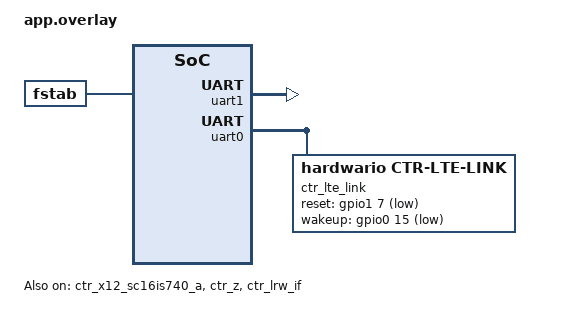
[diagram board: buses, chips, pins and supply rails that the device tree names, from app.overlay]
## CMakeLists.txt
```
#
# Copyright (c) 2026 HARDWARIO a.s.
#
# SPDX-License-Identifier: LicenseRef-HARDWARIO-5-Clause
#

cmake_minimum_required(VERSION 3.20.0)

set(ENV{FW_BUNDLE} "com.hardwario.chester.app.serial.rs232")
set(ENV{FW_NAME} "CHESTER Serial RS-232")

# Derive firmware version from git (see scripts/version.cmake); the fallback is
# used when git is unavailable at build time.
set(FW_VERSION_FALLBACK "v3.5.3")
include(${CMAKE_CURRENT_SOURCE_DIR}/../../scripts/version.cmake)

find_package(Zephyr REQUIRED HINTS $ENV{ZEPHYR_BASE})

project(chester-serial-rs232)

include(${ZEPHYR_CHESTER_MODULE_DIR}/scripts/app_codec.cmake)

target_sources(app PRIVATE src/app_cbor.c)
target_sources(app PRIVATE src/app_config.c)
target_sources(app PRIVATE src/app_data.c)
target_sources(app PRIVATE src/app_device.c)
target_sources(app PRIVATE src/app_driver.c)
target_sources(app PRIVATE src/app_driver_store.c)
target_sources(app PRIVATE src/app_handler.c)
target_sources(app PRIVATE src/app_init.c)
target_sources(app PRIVATE src/app_lrw.c)
target_sources(app PRIVATE src/app_modbus.c)
target_sources(app PRIVATE src/app_modbus_addr.c)
target_sources(app PRIVATE src/app_send.c)
target_sources(app PRIVATE src/app_send_split.c)
target_sources(app PRIVATE src/app_sensor.c)
target_sources(app PRIVATE src/app_serial.c)
target_sources(app PRIVATE src/app_shell.c)
target_sources(app PRIVATE src/app_work.c)
target_sources(app PRIVATE src/drivers/drv_cubic_6303.c)
target_sources(app PRIVATE src/drivers/drv_em1xx.c)
target_sources(app PRIVATE src/drivers/drv_em5xx.c)
target_sources(app PRIVATE src/drivers/drv_flowt_ft201.c)
target_sources(app PRIVATE src/drivers/drv_iem3000.c)
target_sources(app PRIVATE src/drivers/drv_microsens_180hs.c)
target_sources(app PRIVATE src/drivers/drv_microsens_180hs_proto.c)
target_sources(app PRIVATE src/drivers/drv_or_we_504.c)
target_sources(app PRIVATE src/drivers/drv_or_we_516.c)
target_sources(app PRIVATE src/drivers/drv_piketronic_rpp.c)
target_sources(app PRIVATE src/drivers/drv_piketronic_rppu.c)
target_sources(app PRIVATE src/drivers/drv_piketronic_rppu_proto.c)
target_sources(app PRIVATE src/drivers/drv_promag_mf7s.c)
target_sources(app PRIVATE src/drivers/drv_promag_mf7s_proto.c)
target_sources(app PRIVATE src/drivers/drv_sensecap.c)
target_sources(app PRIVATE src/drivers/drv_solax_g3.c)
target_sources(app PRIVATE src/main.c)

target_precompile_headers(app PRIVATE src/feature.h)

# ### Preserved code "cmake" (begin)
# Access to the Zephyr Modbus internal API (modbus_internal.h) for the RTU
# frame-timeout workaround in app_modbus.c (SC16IS7xx I2C-UART bridge RX batching)
# and for the frames of the OR-WE-504 address change.
target_include_directories(app PRIVATE $ENV{ZEPHYR_BASE}/subsys/modbus)
# ^^^ Preserved code "cmake" (end)
```

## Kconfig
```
#
# Copyright (c) 2026 HARDWARIO a.s.
#
# SPDX-License-Identifier: LicenseRef-HARDWARIO-5-Clause
#

menu "Application"

# HARDWARE-CHESTER-X12-A
config GPIO
	default y

config I2C
	default y

config PM_DEVICE
	default y

config SERIAL
	default y

config UART_SC16IS7XX
	default y
# HARDWARE-CHESTER-Z
config SHIELD_CTR_Z
	bool "Enable SHIELD_CTR_Z"
	default y

config CTR_Z
	default y

config I2C
	default y
# SUBSYSTEM-LRW
config SHIELD_CTR_LRW
	bool "Enable SHIELD_CTR_LRW"
	default y

config CTR_LRW
	default y
# SUBSYSTEM-LTE-V2
config SHIELD_CTR_LTE_V2
	bool "Enable SHIELD_CTR_LTE_V2"
	default y

config CTR_LTE_V2
	default y

# ### Preserved code "k_config" (begin)
# ^^^ Preserved code "k_config" (end)

rsource "Kconfig.variant"

endmenu

menu "Zephyr Kernel"
source "Kconfig.zephyr"
endmenu
```

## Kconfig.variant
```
#
# Copyright (c) 2026 HARDWARIO a.s.
#
# SPDX-License-Identifier: LicenseRef-HARDWARIO-5-Clause
#

config VARIANT_CHESTER_SERIAL_RS_232
    bool "Enable VARIANT_CHESTER_SERIAL_RS_232"
    default y
```

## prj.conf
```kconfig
#
# Copyright (c) 2026 HARDWARIO a.s.
#
# SPDX-License-Identifier: LicenseRef-HARDWARIO-5-Clause
#

# Configurations
# SUBSYSTEM-ACCEL
CONFIG_CTR_ACCEL=y
# SUBSYSTEM-BATT
CONFIG_CTR_BATT=y
# SUBSYSTEM-BLE
CONFIG_CTR_BLE=y
# SUBSYSTEM-BLE-TAG
CONFIG_CTR_BLE_TAG=y
# SUBSYSTEM-BUF
CONFIG_CTR_BUF=y
# SUBSYSTEM-BUTTON
CONFIG_CTR_BUTTON=y
# SUBSYSTEM-CLOUD
CONFIG_CTR_CLOUD=y
CONFIG_SETTINGS_SHELL=y
CONFIG_IMG_MANAGER=y
CONFIG_BOOTLOADER_MCUBOOT=y
CONFIG_SPI=y
CONFIG_DFU_TARGET=y
CONFIG_DFU_TARGET_STREAM=y
CONFIG_DFU_TARGET_MCUBOOT=y
CONFIG_DFU_TARGET_LOG_LEVEL_DBG=y
CONFIG_STREAM_FLASH_ERASE=y
CONFIG_STREAM_FLASH=y
CONFIG_FILE_SYSTEM=y
CONFIG_FILE_SYSTEM_LITTLEFS=y
CONFIG_FILE_SYSTEM_MKFS=y
CONFIG_FILE_SYSTEM_SHELL=y
CONFIG_SETTINGS_FILE=y
CONFIG_SETTINGS_FILE_PATH="/lfs1/settings/run"
# SUBSYSTEM-CONFIG
CONFIG_CTR_CONFIG=y
# SUBSYSTEM-DEFAULTS
CONFIG_CTR_DEFAULTS=y
# SUBSYSTEM-INFO
CONFIG_CTR_INFO=y
# SUBSYSTEM-LED
CONFIG_CTR_LED=y
# SUBSYSTEM-LOG
CONFIG_CTR_LOG=y
# SUBSYSTEM-LRW
CONFIG_CTR_LRW=y
# SUBSYSTEM-LTE-V2
CONFIG_CTR_LTE_V2=y
# SUBSYSTEM-POWER
CONFIG_CTR_POWER=y
# SUBSYSTEM-RTC
CONFIG_CTR_RTC=y
# SUBSYSTEM-SHELL
CONFIG_CTR_SHELL=y
# SUBSYSTEM-THERM
CONFIG_CTR_THERM=y
# SUBSYSTEM-WDOG
CONFIG_CTR_WDOG=y
# SUBSYSTEM-ZCBOR
CONFIG_ZCBOR=y
CONFIG_ZCBOR_STOP_ON_ERROR=y
# Extra configurations
CONFIG_ADC_NRFX_SAADC=n
CONFIG_ADC_SHELL=n
CONFIG_GPIO_SHELL=y
CONFIG_I2C_SHELL=y
CONFIG_ISR_TABLES_LOCAL_DECLARATION=y
CONFIG_LTO=y
CONFIG_MCUBOOT_SHELL=y
CONFIG_MODBUS=y
CONFIG_MODBUS_BUFFER_SIZE=256
CONFIG_UART_0_INTERRUPT_DRIVEN=n
CONFIG_UART_1_INTERRUPT_DRIVEN=n

# ### Preserved code "config" (begin)
CONFIG_BUILD_OUTPUT_META=y
CONFIG_BUILD_OUTPUT_META_STATE_PROPAGATE=y
# SUBSYSTEM-BLE-TAG
CONFIG_CTR_BLE_TAG=y
CONFIG_BT_FILTER_ACCEPT_LIST=y
CONFIG_BT_OBSERVER=y
CONFIG_CTR_CLOUD_SPOOL=y
# Needed for SC16IS7XX_DRV_CMD_SET_BREAK (park peer RX_in low; Piketronic RPP-U)
CONFIG_UART_DRV_CMD=y
# ^^^ Preserved code "config" (end)
```

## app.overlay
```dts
/*
 * Copyright (c) 2026 HARDWARIO a.s.
 *
 * SPDX-License-Identifier: LicenseRef-HARDWARIO-5-Clause
 */

/* HARDWARE-CHESTER-X12-A  */
&ctr_x12_sc16is740_a {
	status = "okay";
};
/* HARDWARE-CHESTER-Z  */
&ctr_z {
	status = "okay";
};
/* SUBSYSTEM-CLOUD  */
/ {
	fstab {
		compatible = "zephyr,fstab";
		lfs1: lfs1 {
			compatible = "zephyr,fstab,littlefs";
			mount-point = "/lfs1";
			partition = <&littlefs_storage>;
			automount;
			read-size = <16>;
			prog-size = <16>;
			cache-size = <64>;
			lookahead-size = <32>;
			block-cycles = <512>;
		};
	};
};
/* SUBSYSTEM-LRW   */
&ctr_lrw_if {
	status = "okay";
};

&uart1 {
	status = "okay";
};
/* SUBSYSTEM-LTE-V2  */
/ {
	chosen {
		ctr,lte_link = &ctr_lte_link;
	};
};

&uart0 {
	status = "okay";

	ctr_lte_link: ctr_lte_link {
		compatible = "hardwario,ctr-lte-link";
		status = "okay";
		reset-gpios = <&gpio1 7 (GPIO_ACTIVE_LOW | GPIO_OPEN_DRAIN)>;
		wakeup-gpios = <&gpio0 15 (GPIO_ACTIVE_LOW | GPIO_OPEN_DRAIN)>;
	};
};

&uart0 {
	status = "okay";
};

/* ### Preserved code "overlay" (begin) */
/* ^^^ Preserved code "overlay" (end) */
```

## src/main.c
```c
/*
 * Copyright (c) 2023 HARDWARIO a.s.
 *
 * SPDX-License-Identifier: LicenseRef-HARDWARIO-5-Clause
 */

/* CHESTER includes */
#include "app_config.h"
#include "app_init.h"

#include <chester/ctr_led.h>
#include <chester/ctr_wdog.h>

/* Zephyr includes */
#include <zephyr/kernel.h>
#include <zephyr/logging/log.h>

LOG_MODULE_REGISTER(app, LOG_LEVEL_DBG);

/* Watchdog channel */
struct ctr_wdog_channel g_app_wdog_channel;

int main(void)
{
	int ret;

	LOG_INF("Build time: " __DATE__ " " __TIME__);

	/* Initialize application */
	ret = app_init();
	if (ret) {
		LOG_ERR("Application initialization failed: %d", ret);
		k_oops();
	}

	/* Main loop */
	for (;;) {
		k_sleep(K_SECONDS(5));
		LOG_INF("Alive");

		/* Feed watchdog */
		ctr_wdog_feed(&g_app_wdog_channel);

		/* Blink LED based on configuration status */
		if (g_app_config.mode == APP_CONFIG_MODE_NONE) {
			/* Blink yellow LED when not configured */
			ctr_led_set(CTR_LED_CHANNEL_Y, true);
			k_sleep(K_MSEC(50));
			ctr_led_set(CTR_LED_CHANNEL_Y, false);
		} else {
			/* Blink green LED to indicate normal operation */
			ctr_led_set(CTR_LED_CHANNEL_G, true);
			k_sleep(K_MSEC(50));
			ctr_led_set(CTR_LED_CHANNEL_G, false);
		}
	}

	return 0;
}
```

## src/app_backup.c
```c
/*
 * Copyright (c) 2023 HARDWARIO a.s.
 *
 * SPDX-License-Identifier: LicenseRef-HARDWARIO-5-Clause
 */

#include "app_backup.h"
#include "app_config.h"
#include "app_data.h"
#include "app_work.h"

/* CHESTER includes */
#include <chester/ctr_rtc.h>
#include <chester/drivers/ctr_z.h>
#include <chester/drivers/ctr_x10.h>

/* Zephyr includes */
#include <zephyr/device.h>
#include <zephyr/devicetree.h>
#include <zephyr/kernel.h>
#include <zephyr/logging/log.h>

/* Standard includes */
#include <errno.h>
#include <math.h>
#include <stdbool.h>

LOG_MODULE_REGISTER(app_backup, LOG_LEVEL_DBG);

#if FEATURE_HARDWARE_CHESTER_Z

void handler_ctr_z(const struct device *dev, enum ctr_z_event backup_event, void *param)
{
	int ret;

	if (backup_event != CTR_Z_EVENT_DC_CONNECTED &&
	    backup_event != CTR_Z_EVENT_DC_DISCONNECTED) {
		return;
	}

	struct app_data_backup *backup = &g_app_data.backup;

	app_work_backup_update();

	app_data_lock();

	backup->line_present = backup_event == CTR_Z_EVENT_DC_CONNECTED;

	if (backup->event_count < APP_DATA_MAX_BACKUP_EVENTS) {
		struct app_data_backup_event *event = &backup->events[backup->event_count];

		ret = ctr_rtc_get_ts(&event->timestamp);
		if (ret) {
			LOG_ERR("Call `ctr_rtc_get_ts` failed: %d", ret);
			app_data_unlock();
			return;
		}

		event->connected = backup->line_present;
		backup->event_count++;

		LOG_INF("Event count: %d", backup->event_count);
	} else {
		LOG_WRN("Measurement full");
		app_data_unlock();
		return;
	}

	LOG_INF("Backup: %d", (int)backup->line_present);

	if (g_app_config.backup_report_connected && backup_event == CTR_Z_EVENT_DC_CONNECTED) {
		app_work_send_with_rate_limit();
	}

	if (g_app_config.backup_report_disconnected &&
	    backup_event == CTR_Z_EVENT_DC_DISCONNECTED) {
		app_work_send_with_rate_limit();
	}

	app_data_unlock();
}

int app_backup_init(void)
{
	int ret;

	static const struct device *dev = DEVICE_DT_GET(DT_NODELABEL(ctr_z));

	if (!device_is_ready(dev)) {
		LOG_ERR("Device not ready");
		return -ENODEV;
	}

	ret = ctr_z_set_handler(dev, handler_ctr_z, NULL);
	if (ret) {
		LOG_ERR("Call `ctr_z_set_handler` failed: %d", ret);
		return ret;
	}

	ret = ctr_z_enable_interrupts(dev);
	if (ret) {
		LOG_ERR("Call `ctr_z_enable_interrupts` failed: %d", ret);
		return ret;
	}

	uint32_t serial_number;
	ret = ctr_z_get_serial_number(dev, &serial_number);
	if (ret) {
		LOG_ERR("Call `ctr_z_get_serial_number` failed: %d", ret);
		return ret;
	}

	LOG_INF("Serial number: %08x", serial_number);

	uint16_t hw_revision;
	ret = ctr_z_get_hw_revision(dev, &hw_revision);
	if (ret) {
		LOG_ERR("Call `ctr_z_get_hw_revision` failed: %d", ret);
		return ret;
	}

	LOG_INF("HW revision: %04x", hw_revision);

	uint32_t hw_variant;
	ret = ctr_z_get_hw_variant(dev, &hw_variant);
	if (ret) {
		LOG_ERR("Call `ctr_z_get_hw_variant` failed: %d", ret);
		return ret;
	}

	LOG_INF("HW variant: %08x", hw_variant);

	uint32_t fw_version;
	ret = ctr_z_get_fw_version(dev, &fw_version);
	if (ret) {
		LOG_ERR("Call `ctr_z_get_fw_version` failed: %d", ret);
		return ret;
	}

	LOG_INF("FW version: %08x", fw_version);

	char vendor_name[32];
	ret = ctr_z_get_vendor_name(dev, vendor_name, sizeof(vendor_name));
	if (ret) {
		LOG_ERR("Call `ctr_z_get_vendor_name` failed: %d", ret);
		return ret;
	}

	LOG_INF("Vendor name: %s", vendor_name);

	char product_name[32];
	ret = ctr_z_get_product_name(dev, product_name, sizeof(product_name));
	if (ret) {
		LOG_ERR("Call `ctr_z_get_product_name` failed: %d", ret);
		return ret;
	}

	LOG_INF("Product name: %s", product_name);

	return 0;
}

int app_backup_sample(void)
{
	int ret;

	static const struct device *dev = DEVICE_DT_GET(DT_NODELABEL(ctr_z));

	if (!device_is_ready(dev)) {
		LOG_ERR("Device not ready");
		ret = -ENODEV;
		goto error;
	}

	struct ctr_z_status status;
	ret = ctr_z_get_status(dev, &status);
	if (ret) {
		LOG_ERR("Call `ctr_z_get_status` failed: %d", ret);
		goto error;
	}

	LOG_INF("DC input connected: %d", status.dc_input_connected);

	uint16_t vdc;
	ret = ctr_z_get_vdc_mv(dev, &vdc);
	if (ret) {
		LOG_ERR("Call `ctr_z_get_vdc_mv` failed: %d", ret);
		goto error;
	}

	LOG_INF("Voltage DC input: %u mV", vdc);

	uint16_t vbat;
	ret = ctr_z_get_vbat_mv(dev, &vbat);
	if (ret) {
		LOG_ERR("Call `ctr_z_get_vbat_mv` failed: %d", ret);
		goto error;
	}

	LOG_INF("Voltage backup battery: %u mV", vbat);

	app_data_lock();
	g_app_data.backup.line_present = status.dc_input_connected;
	g_app_data.backup.line_voltage = vdc / 1000.f;
	g_app_data.backup.battery_voltage = vbat / 1000.f;
	app_data_unlock();

	return 0;

error:
	app_data_lock();
	g_app_data.backup.line_present = false;
	g_app_data.backup.line_voltage = NAN;
	g_app_data.backup.battery_voltage = NAN;
	app_data_unlock();

	return ret;
}

#endif /* defined(FEATURE_HARDWARE_CHESTER_Z) */

#if FEATURE_HARDWARE_CHESTER_X10

static void handler_ctr_x10(const struct device *dev, enum ctr_x10_event backup_event,
			    void *user_data)
{
	int ret;

	if (backup_event != CTR_X10_EVENT_LINE_CONNECTED &&
	    backup_event != CTR_X10_EVENT_LINE_DISCONNECTED) {
		return;
	}

	struct app_data_backup *backup = &g_app_data.backup;

	app_work_backup_update();

	app_data_lock();

	backup->line_present = backup_event == CTR_X10_EVENT_LINE_CONNECTED;

	if (backup->event_count < APP_DATA_MAX_BACKUP_EVENTS) {
		struct app_data_backup_event *event = &backup->events[backup->event_count];

		ret = ctr_rtc_get_ts(&event->timestamp);
		if (ret) {
			LOG_ERR("Call `ctr_rtc_get_ts` failed: %d", ret);
			app_data_unlock();
			return;
		}

		event->connected = backup->line_present;
		backup->event_count++;

		LOG_INF("Event count: %d", backup->event_count);
	} else {
		LOG_WRN("Measurement full");
		app_data_unlock();
		return;
	}

	LOG_INF("Backup: %d", (int)backup->line_present);

	if (g_app_config.backup_report_connected && backup_event == CTR_X10_EVENT_LINE_CONNECTED) {
		app_work_send_with_rate_limit();
	}

	if (g_app_config.backup_report_disconnected &&
	    backup_event == CTR_X10_EVENT_LINE_DISCONNECTED) {
		app_work_send_with_rate_limit();
	}

	app_data_unlock();
}

int app_backup_init(void)
{
	int ret;

	static const struct device *dev = DEVICE_DT_GET(DT_NODELABEL(ctr_x10));

	if (!device_is_ready(dev)) {
		LOG_ERR("Device not ready");
		return -ENODEV;
	}

	ret = ctr_x10_set_handler(dev, handler_ctr_x10, NULL);
	if (ret) {
		LOG_ERR("Call `ctr_z_set_handler` failed: %d", ret);
		return ret;
	}

	return 0;
}

int app_backup_sample(void)
{
	int ret;

	static const struct device *dev = DEVICE_DT_GET(DT_NODELABEL(ctr_x10));

	if (!device_is_ready(dev)) {
		LOG_ERR("Device not ready");
		ret = -ENODEV;
		goto error;
	}

	bool dc_input_connected;
	ret = ctr_x10_get_line_present(dev, &dc_input_connected);
	if (ret) {
		LOG_ERR("Call `ctr_x10_get_line_present` failed: %d", ret);
	} else {
		LOG_INF("Line present: %d", dc_input_connected);
	}

	int line_voltage_mv;
	ret = ctr_x10_get_line_voltage(dev, &line_voltage_mv);
	if (ret) {
		LOG_ERR("Call `ctr_x10_get_line_voltage` failed: %d", ret);
		goto error;
	} else {
		LOG_INF("Line voltage: %d mv", line_voltage_mv);
	}

	int battery_voltage_mv;
	ret = ctr_x10_get_battery_voltage(dev, &battery_voltage_mv);
	if (ret) {
		LOG_ERR("Call `ctr_x10_get_battery_voltage` failed: %d", ret);
		goto error;
	} else {
		LOG_INF("Battery voltage: %d mv", battery_voltage_mv);
	}

	app_data_lock();
	g_app_data.backup.line_present = dc_input_connected;
	g_app_data.backup.line_voltage = line_voltage_mv / 1000.f;
	g_app_data.backup.battery_voltage = battery_voltage_mv / 1000.f;
	app_data_unlock();

	return 0;

error:
	app_data_lock();
	g_app_data.backup.line_present = false;
	g_app_data.backup.line_voltage = NAN;
	g_app_data.backup.battery_voltage = NAN;
	app_data_unlock();

	return ret;
}

#endif /* defined(FEATURE_HARDWARE_CHESTER_X10) */

#if FEATURE_HARDWARE_CHESTER_Z || FEATURE_HARDWARE_CHESTER_X10

int app_backup_clear(void)
{
	app_data_lock();
	g_app_data.backup.event_count = 0;
	app_data_unlock();

	return 0;
}

#endif /* defined(FEATURE_HARDWARE_CHESTER_Z) || defined(FEATURE_HARDWARE_CHESTER_X10) */
```

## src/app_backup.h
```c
/*
 * Copyright (c) 2023 HARDWARIO a.s.
 *
 * SPDX-License-Identifier: LicenseRef-HARDWARIO-5-Clause
 */

#ifndef APP_BACKUP_H_
#define APP_BACKUP_H_

#ifdef __cplusplus
extern "C" {
#endif

int app_backup_init(void);
int app_backup_sample(void);
int app_backup_clear(void);

#ifdef __cplusplus
}
#endif

#endif /* APP_BACKUP_H_ */
```

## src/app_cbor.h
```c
/*
 * Copyright (c) 2023 HARDWARIO a.s.
 *
 * SPDX-License-Identifier: LicenseRef-HARDWARIO-5-Clause
 */

#ifndef APP_CBOR_H_
#define APP_CBOR_H_

#include "app_send_split.h"

/* Zephyr includes */
#include <zephyr/kernel.h>

#if FEATURE_SUBSYSTEM_LTE_V2
#include <zcbor_common.h>
#endif /* defined(FEATURE_SUBSYSTEM_LTE_V2) */

#ifdef __cplusplus
extern "C" {
#endif

#if FEATURE_SUBSYSTEM_LTE_V2
/**
 * @brief Encode a report message
 *
 * @param zs Fresh encoder state
 * @param sel Message content
 * @retval 0 Encoded
 * @retval -ENOSPC The message does not fit the payload buffer
 * @retval other Encoding failed
 */
int app_cbor_encode(zcbor_state_t *zs, const struct app_send_select *sel);
#endif /* defined(FEATURE_SUBSYSTEM_LTE_V2) */

#ifdef __cplusplus
}
#endif

#endif /* APP_CBOR_H_ */
```

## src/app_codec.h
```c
#ifndef CODEC_H_
#define CODEC_H_

/* This file has been generated using the script gen-codec.py */

#ifdef __cplusplus
extern "C" {
#endif

#define CODEC_CLOUD_DECODER_HASH ((uint64_t)0xa27d22fff2dc1bea)
#define CODEC_CLOUD_ENCODER_HASH ((uint64_t)0x0000000000000000)

enum codec_key_e {
	CODEC_KEY_E_MESSAGE = 0,
	CODEC_KEY_E_MESSAGE__VERSION = 1,
	CODEC_KEY_E_MESSAGE__SEQUENCE = 2,
	CODEC_KEY_E_MESSAGE__TIMESTAMP = 3,
	CODEC_KEY_E_ATTRIBUTE = 4,
	CODEC_KEY_E_ATTRIBUTE__VENDOR_NAME = 5,
	CODEC_KEY_E_ATTRIBUTE__PRODUCT_NAME = 6,
	CODEC_KEY_E_ATTRIBUTE__HW_VARIANT = 7,
	CODEC_KEY_E_ATTRIBUTE__HW_REVISION = 8,
	CODEC_KEY_E_ATTRIBUTE__FW_VERSION = 9,
	CODEC_KEY_E_ATTRIBUTE__SERIAL_NUMBER = 10,
	CODEC_KEY_E_SYSTEM = 11,
	CODEC_KEY_E_SYSTEM__UPTIME = 12,
	CODEC_KEY_E_SYSTEM__VOLTAGE_REST = 13,
	CODEC_KEY_E_SYSTEM__VOLTAGE_LOAD = 14,
	CODEC_KEY_E_SYSTEM__CURRENT_LOAD = 15,
	CODEC_KEY_E_NETWORK = 16,
	CODEC_KEY_E_NETWORK__PARAMETER = 17,
	CODEC_KEY_E_NETWORK__PARAMETER__EEST = 18,
	CODEC_KEY_E_NETWORK__PARAMETER__ECL = 19,
	CODEC_KEY_E_NETWORK__PARAMETER__RSRP = 20,
	CODEC_KEY_E_NETWORK__PARAMETER__RSRQ = 21,
	CODEC_KEY_E_NETWORK__PARAMETER__SNR = 22,
	CODEC_KEY_E_NETWORK__PARAMETER__PLMN = 23,
	CODEC_KEY_E_NETWORK__PARAMETER__CID = 24,
	CODEC_KEY_E_NETWORK__PARAMETER__BAND = 25,
	CODEC_KEY_E_NETWORK__PARAMETER__EARFCN = 26,
	CODEC_KEY_E_THERMOMETER = 27,
	CODEC_KEY_E_THERMOMETER__TEMPERATURE = 28,
	CODEC_KEY_E_ACCELEROMETER = 29,
	CODEC_KEY_E_ACCELEROMETER__ACCEL_X = 30,
	CODEC_KEY_E_ACCELEROMETER__ACCEL_Y = 31,
	CODEC_KEY_E_ACCELEROMETER__ACCEL_Z = 32,
	CODEC_KEY_E_ACCELEROMETER__ORIENTATION = 33,
	CODEC_KEY_E_DEVICES = 34,
	CODEC_KEY_E_DEVICES__DEVICE = 35,
	CODEC_KEY_E_DEVICES__TYPE = 36,
	CODEC_KEY_E_DEVICES__TYPE_NAME = 37,
	CODEC_KEY_E_DEVICES__ADDR = 38,
	CODEC_KEY_E_DEVICES__DATA = 39,
	CODEC_KEY_E_DEVICES__DATA__TIMESTAMP = 40,
	CODEC_KEY_E_DEVICES__DATA__CO2_PERCENT = 41,
	CODEC_KEY_E_DEVICES__DATA__TEMPERATURE = 42,
	CODEC_KEY_E_DEVICES__DATA__PRESSURE = 43,
	CODEC_KEY_E_DEVICES__DATA__VOLTAGE = 44,
	CODEC_KEY_E_DEVICES__DATA__CURRENT = 45,
	CODEC_KEY_E_DEVICES__DATA__POWER = 46,
	CODEC_KEY_E_DEVICES__DATA__ENERGY = 47,
	CODEC_KEY_E_DEVICES__DATA__FREQUENCY = 48,
	CODEC_KEY_E_DEVICES__DATA__ENERGY_IN = 49,
	CODEC_KEY_E_DEVICES__DATA__ENERGY_OUT = 50,
	CODEC_KEY_E_DEVICES__DATA__VOLTAGE_L1 = 51,
	CODEC_KEY_E_DEVICES__DATA__VOLTAGE_L2 = 52,
	CODEC_KEY_E_DEVICES__DATA__VOLTAGE_L3 = 53,
	CODEC_KEY_E_DEVICES__DATA__CURRENT_L1 = 54,
	CODEC_KEY_E_DEVICES__DATA__CURRENT_L2 = 55,
	CODEC_KEY_E_DEVICES__DATA__CURRENT_L3 = 56,
	CODEC_KEY_E_DEVICES__DATA__POWER_L1 = 57,
	CODEC_KEY_E_DEVICES__DATA__POWER_L2 = 58,
	CODEC_KEY_E_DEVICES__DATA__POWER_L3 = 59,
	CODEC_KEY_E_DEVICES__DATA__CARD_UID = 60,
	CODEC_KEY_E_DEVICES__DATA__FLOW_S = 61,
	CODEC_KEY_E_DEVICES__DATA__FLOW_M = 62,
	CODEC_KEY_E_DEVICES__DATA__FLOW_H = 63,
	CODEC_KEY_E_DEVICES__DATA__VELOCITY = 64,
	CODEC_KEY_E_DEVICES__DATA__TOTAL_POSITIVE = 65,
	CODEC_KEY_E_DEVICES__DATA__TOTAL_NEGATIVE = 66,
	CODEC_KEY_E_DEVICES__DATA__TOTAL_NET = 67,
	CODEC_KEY_E_DEVICES__DATA__ENERGY_HOT = 68,
	CODEC_KEY_E_DEVICES__DATA__ENERGY_COLD = 69,
	CODEC_KEY_E_DEVICES__DATA__TEMP_INLET = 70,
	CODEC_KEY_E_DEVICES__DATA__TEMP_OUTLET = 71,
	CODEC_KEY_E_DEVICES__DATA__SIGNAL_QUALITY = 72,
	CODEC_KEY_E_DEVICES__DATA__POWER_APPARENT = 73,
	CODEC_KEY_E_DEVICES__DATA__POWER_REACTIVE = 74,
	CODEC_KEY_E_DEVICES__DATA__POWER_FACTOR = 75,
	CODEC_KEY_E_DEVICES__DATA__POWER_FACTOR_L1 = 76,
	CODEC_KEY_E_DEVICES__DATA__POWER_FACTOR_L2 = 77,
	CODEC_KEY_E_DEVICES__DATA__POWER_FACTOR_L3 = 78,
	CODEC_KEY_E_DEVICES__DATA__RADON_CONCENTRATION = 79,
	CODEC_KEY_E_DEVICES__DATA__RADON_CONCENTRATION_DAY = 80,
	CODEC_KEY_E_DEVICES__DATA__HUMIDITY = 81,
	CODEC_KEY_E_BLE_TAGS = 82,
	CODEC_KEY_E_BLE_TAGS__ADDR = 83,
	CODEC_KEY_E_BLE_TAGS__RSSI = 84,
	CODEC_KEY_E_BLE_TAGS__VOLTAGE = 85,
	CODEC_KEY_E_BLE_TAGS__TEMPERATURE = 86,
	CODEC_KEY_E_BLE_TAGS__TEMPERATURE__MEASUREMENTS = 87,
	CODEC_KEY_E_BLE_TAGS__HUMIDITY = 88,
	CODEC_KEY_E_BLE_TAGS__HUMIDITY__MEASUREMENTS = 89,
};

#define CODEC_CLOUD_OPTIONS_STATIC(_name) \
	static const uint8_t _name##_cloud_decoder[] = CLOUD_DECODER_BUFFER; \
	static struct ctr_cloud_options _name = { \
		.decoder_hash = CODEC_CLOUD_DECODER_HASH, \
		.encoder_hash = CODEC_CLOUD_ENCODER_HASH, \
		.decoder_buf = _name##_cloud_decoder, \
		.decoder_len = 1802, \
		.encoder_buf = NULL, \
		.encoder_len = 0, \
}

#define CLOUD_DECODER_BUFFER { \
	0xa4, 0x67, 0x76, 0x65, 0x72, 0x73, 0x69, 0x6f, \
	0x6e, 0x02, 0x64, 0x74, 0x79, 0x70, 0x65, 0x67, \
	0x64, 0x65, 0x63, 0x6f, 0x64, 0x65, 0x72, 0x64, \
	0x6e, 0x61, 0x6d, 0x65, 0x78, 0x20, 0x63, 0x6f, \
	0x6d, 0x2e, 0x68, 0x61, 0x72, 0x64, 0x77, 0x61, \
	0x72, 0x69, 0x6f, 0x2e, 0x63, 0x68, 0x65, 0x73, \
	0x74, 0x65, 0x72, 0x2e, 0x61, 0x70, 0x70, 0x2e, \
	0x73, 0x65, 0x72, 0x69, 0x61, 0x6c, 0x66, 0x73, \
	0x63, 0x68, 0x65, 0x6d, 0x61, 0x88, 0xa1, 0x67, \
	0x6d, 0x65, 0x73, 0x73, 0x61, 0x67, 0x65, 0x83, \
	0xa1, 0x67, 0x76, 0x65, 0x72, 0x73, 0x69, 0x6f, \
	0x6e, 0xf6, 0xa1, 0x68, 0x73, 0x65, 0x71, 0x75, \
	0x65, 0x6e, 0x63, 0x65, 0xf6, 0xa1, 0x69, 0x74, \
	0x69, 0x6d, 0x65, 0x73, 0x74, 0x61, 0x6d, 0x70, \
	0xf6, 0xa1, 0x69, 0x61, 0x74, 0x74, 0x72, 0x69, \
	0x62, 0x75, 0x74, 0x65, 0x86, 0xa1, 0x6b, 0x76, \
	0x65, 0x6e, 0x64, 0x6f, 0x72, 0x5f, 0x6e, 0x61, \
	0x6d, 0x65, 0xf6, 0xa1, 0x6c, 0x70, 0x72, 0x6f, \
	0x64, 0x75, 0x63, 0x74, 0x5f, 0x6e, 0x61, 0x6d, \
	0x65, 0xf6, 0xa1, 0x6a, 0x68, 0x77, 0x5f, 0x76, \
	0x61, 0x72, 0x69, 0x61, 0x6e, 0x74, 0xf6, 0xa1, \
	0x6b, 0x68, 0x77, 0x5f, 0x72, 0x65, 0x76, 0x69, \
	0x73, 0x69, 0x6f, 0x6e, 0xf6, 0xa1, 0x6a, 0x66, \
	0x77, 0x5f, 0x76, 0x65, 0x72, 0x73, 0x69, 0x6f, \
	0x6e, 0xf6, 0xa1, 0x6d, 0x73, 0x65, 0x72, 0x69, \
	0x61, 0x6c, 0x5f, 0x6e, 0x75, 0x6d, 0x62, 0x65, \
	0x72, 0xf6, 0xa1, 0x66, 0x73, 0x79, 0x73, 0x74, \
	0x65, 0x6d, 0x84, 0xa1, 0x66, 0x75, 0x70, 0x74, \
	0x69, 0x6d, 0x65, 0xf6, 0xa1, 0x6c, 0x76, 0x6f, \
	0x6c, 0x74, 0x61, 0x67, 0x65, 0x5f, 0x72, 0x65, \
	0x73, 0x74, 0x82, 0xa1, 0x64, 0x24, 0x64, 0x69, \
	0x76, 0x19, 0x03, 0xe8, 0xa1, 0x64, 0x24, 0x66, \
	0x70, 0x70, 0x02, 0xa1, 0x6c, 0x76, 0x6f, 0x6c, \
	0x74, 0x61, 0x67, 0x65, 0x5f, 0x6c, 0x6f, 0x61, \
	0x64, 0x82, 0xa1, 0x64, 0x24, 0x64, 0x69, 0x76, \
	0x19, 0x03, 0xe8, 0xa1, 0x64, 0x24, 0x66, 0x70, \
	0x70, 0x02, 0xa1, 0x6c, 0x63, 0x75, 0x72, 0x72, \
	0x65, 0x6e, 0x74, 0x5f, 0x6c, 0x6f, 0x61, 0x64, \
	0xf6, 0xa1, 0x67, 0x6e, 0x65, 0x74, 0x77, 0x6f, \
	0x72, 0x6b, 0x81, 0xa1, 0x69, 0x70, 0x61, 0x72, \
	0x61, 0x6d, 0x65, 0x74, 0x65, 0x72, 0x89, 0xa1, \
	0x64, 0x65, 0x65, 0x73, 0x74, 0xf6, 0xa1, 0x63, \
	0x65, 0x63, 0x6c, 0xf6, 0xa1, 0x64, 0x72, 0x73, \
	0x72, 0x70, 0xf6, 0xa1, 0x64, 0x72, 0x73, 0x72, \
	0x71, 0xf6, 0xa1, 0x63, 0x73, 0x6e, 0x72, 0xf6, \
	0xa1, 0x64, 0x70, 0x6c, 0x6d, 0x6e, 0xf6, 0xa1, \
	0x63, 0x63, 0x69, 0x64, 0xf6, 0xa1, 0x64, 0x62, \
	0x61, 0x6e, 0x64, 0xf6, 0xa1, 0x66, 0x65, 0x61, \
	0x72, 0x66, 0x63, 0x6e, 0xf6, 0xa1, 0x6b, 0x74, \
	0x68, 0x65, 0x72, 0x6d, 0x6f, 0x6d, 0x65, 0x74, \
	0x65, 0x72, 0x81, 0xa1, 0x6b, 0x74, 0x65, 0x6d, \
	0x70, 0x65, 0x72, 0x61, 0x74, 0x75, 0x72, 0x65, \
	0x82, 0xa1, 0x64, 0x24, 0x64, 0x69, 0x76, 0x18, \
	0x64, 0xa1, 0x64, 0x24, 0x66, 0x70, 0x70, 0x02, \
	0xa1, 0x6d, 0x61, 0x63, 0x63, 0x65, 0x6c, 0x65, \
	0x72, 0x6f, 0x6d, 0x65, 0x74, 0x65, 0x72, 0x84, \
	0xa1, 0x67, 0x61, 0x63, 0x63, 0x65, 0x6c, 0x5f, \
	0x78, 0x82, 0xa1, 0x64, 0x24, 0x64, 0x69, 0x76, \
	0x19, 0x03, 0xe8, 0xa1, 0x64, 0x24, 0x66, 0x70, \
	0x70, 0x02, 0xa1, 0x67, 0x61, 0x63, 0x63, 0x65, \
	0x6c, 0x5f, 0x79, 0x82, 0xa1, 0x64, 0x24, 0x64, \
	0x69, 0x76, 0x19, 0x03, 0xe8, 0xa1, 0x64, 0x24, \
	0x66, 0x70, 0x70, 0x02, 0xa1, 0x67, 0x61, 0x63, \
	0x63, 0x65, 0x6c, 0x5f, 0x7a, 0x82, 0xa1, 0x64, \
	0x24, 0x64, 0x69, 0x76, 0x19, 0x03, 0xe8, 0xa1, \
	0x64, 0x24, 0x66, 0x70, 0x70, 0x02, 0xa1, 0x6b, \
	0x6f, 0x72, 0x69, 0x65, 0x6e, 0x74, 0x61, 0x74, \
	0x69, 0x6f, 0x6e, 0xf6, 0xa1, 0x67, 0x64, 0x65, \
	0x76, 0x69, 0x63, 0x65, 0x73, 0x85, 0xa1, 0x66, \
	0x64, 0x65, 0x76, 0x69, 0x63, 0x65, 0xf6, 0xa1, \
	0x64, 0x74, 0x79, 0x70, 0x65, 0xf6, 0xa1, 0x69, \
	0x74, 0x79, 0x70, 0x65, 0x5f, 0x6e, 0x61, 0x6d, \
	0x65, 0xf6, 0xa1, 0x64, 0x61, 0x64, 0x64, 0x72, \
	0xf6, 0xa1, 0x64, 0x64, 0x61, 0x74, 0x61, 0x98, \
	0x2a, 0xa1, 0x69, 0x74, 0x69, 0x6d, 0x65, 0x73, \
	0x74, 0x61, 0x6d, 0x70, 0xf6, 0xa1, 0x6b, 0x63, \
	0x6f, 0x32, 0x5f, 0x70, 0x65, 0x72, 0x63, 0x65, \
	0x6e, 0x74, 0x82, 0xa1, 0x64, 0x24, 0x64, 0x69, \
	0x76, 0x19, 0x03, 0xe8, 0xa1, 0x64, 0x24, 0x66, \
	0x70, 0x70, 0x03, 0xa1, 0x6b, 0x74, 0x65, 0x6d, \
	0x70, 0x65, 0x72, 0x61, 0x74, 0x75, 0x72, 0x65, \
	0x82, 0xa1, 0x64, 0x24, 0x64, 0x69, 0x76, 0x18, \
	0x64, 0xa1, 0x64, 0x24, 0x66, 0x70, 0x70, 0x02, \
	0xa1, 0x68, 0x70, 0x72, 0x65, 0x73, 0x73, 0x75, \
	0x72, 0x65, 0x82, 0xa1, 0x64, 0x24, 0x64, 0x69, \
	0x76, 0x0a, 0xa1, 0x64, 0x24, 0x66, 0x70, 0x70, \
	0x01, 0xa1, 0x67, 0x76, 0x6f, 0x6c, 0x74, 0x61, \
	0x67, 0x65, 0x82, 0xa1, 0x64, 0x24, 0x64, 0x69, \
	0x76, 0x18, 0x64, 0xa1, 0x64, 0x24, 0x66, 0x70, \
	0x70, 0x02, 0xa1, 0x67, 0x63, 0x75, 0x72, 0x72, \
	0x65, 0x6e, 0x74, 0x82, 0xa1, 0x64, 0x24, 0x64, \
	0x69, 0x76, 0x19, 0x03, 0xe8, 0xa1, 0x64, 0x24, \
	0x66, 0x70, 0x70, 0x03, 0xa1, 0x65, 0x70, 0x6f, \
	0x77, 0x65, 0x72, 0xf6, 0xa1, 0x66, 0x65, 0x6e, \
	0x65, 0x72, 0x67, 0x79, 0xf6, 0xa1, 0x69, 0x66, \
	0x72, 0x65, 0x71, 0x75, 0x65, 0x6e, 0x63, 0x79, \
	0x82, 0xa1, 0x64, 0x24, 0x64, 0x69, 0x76, 0x18, \
	0x64, 0xa1, 0x64, 0x24, 0x66, 0x70, 0x70, 0x02, \
	0xa1, 0x69, 0x65, 0x6e, 0x65, 0x72, 0x67, 0x79, \
	0x5f, 0x69, 0x6e, 0xf6, 0xa1, 0x6a, 0x65, 0x6e, \
	0x65, 0x72, 0x67, 0x79, 0x5f, 0x6f, 0x75, 0x74, \
	0xf6, 0xa1, 0x6a, 0x76, 0x6f, 0x6c, 0x74, 0x61, \
	0x67, 0x65, 0x5f, 0x6c, 0x31, 0x82, 0xa1, 0x64, \
	0x24, 0x64, 0x69, 0x76, 0x18, 0x64, 0xa1, 0x64, \
	0x24, 0x66, 0x70, 0x70, 0x02, 0xa1, 0x6a, 0x76, \
	0x6f, 0x6c, 0x74, 0x61, 0x67, 0x65, 0x5f, 0x6c, \
	0x32, 0x82, 0xa1, 0x64, 0x24, 0x64, 0x69, 0x76, \
	0x18, 0x64, 0xa1, 0x64, 0x24, 0x66, 0x70, 0x70, \
	0x02, 0xa1, 0x6a, 0x76, 0x6f, 0x6c, 0x74, 0x61, \
	0x67, 0x65, 0x5f, 0x6c, 0x33, 0x82, 0xa1, 0x64, \
	0x24, 0x64, 0x69, 0x76, 0x18, 0x64, 0xa1, 0x64, \
	0x24, 0x66, 0x70, 0x70, 0x02, 0xa1, 0x6a, 0x63, \
	0x75, 0x72, 0x72, 0x65, 0x6e, 0x74, 0x5f, 0x6c, \
	0x31, 0x82, 0xa1, 0x64, 0x24, 0x64, 0x69, 0x76, \
	0x19, 0x03, 0xe8, 0xa1, 0x64, 0x24, 0x66, 0x70, \
	0x70, 0x03, 0xa1, 0x6a, 0x63, 0x75, 0x72, 0x72, \
	0x65, 0x6e, 0x74, 0x5f, 0x6c, 0x32, 0x82, 0xa1, \
	0x64, 0x24, 0x64, 0x69, 0x76, 0x19, 0x03, 0xe8, \
	0xa1, 0x64, 0x24, 0x66, 0x70, 0x70, 0x03, 0xa1, \
	0x6a, 0x63, 0x75, 0x72, 0x72, 0x65, 0x6e, 0x74, \
	0x5f, 0x6c, 0x33, 0x82, 0xa1, 0x64, 0x24, 0x64, \
	0x69, 0x76, 0x19, 0x03, 0xe8, 0xa1, 0x64, 0x24, \
	0x66, 0x70, 0x70, 0x03, 0xa1, 0x68, 0x70, 0x6f, \
	0x77, 0x65, 0x72, 0x5f, 0x6c, 0x31, 0xf6, 0xa1, \
	0x68, 0x70, 0x6f, 0x77, 0x65, 0x72, 0x5f, 0x6c, \
	0x32, 0xf6, 0xa1, 0x68, 0x70, 0x6f, 0x77, 0x65, \
	0x72, 0x5f, 0x6c, 0x33, 0xf6, 0xa1, 0x68, 0x63, \
	0x61, 0x72, 0x64, 0x5f, 0x75, 0x69, 0x64, 0xf6, \
	0xa1, 0x66, 0x66, 0x6c, 0x6f, 0x77, 0x5f, 0x73, \
	0x82, 0xa1, 0x64, 0x24, 0x64, 0x69, 0x76, 0x19, \
	0x27, 0x10, 0xa1, 0x64, 0x24, 0x66, 0x70, 0x70, \
	0x04, 0xa1, 0x66, 0x66, 0x6c, 0x6f, 0x77, 0x5f, \
	0x6d, 0x82, 0xa1, 0x64, 0x24, 0x64, 0x69, 0x76, \
	0x19, 0x27, 0x10, 0xa1, 0x64, 0x24, 0x66, 0x70, \
	0x70, 0x04, 0xa1, 0x66, 0x66, 0x6c, 0x6f, 0x77, \
	0x5f, 0x68, 0x82, 0xa1, 0x64, 0x24, 0x64, 0x69, \
	0x76, 0x19, 0x27, 0x10, 0xa1, 0x64, 0x24, 0x66, \
	0x70, 0x70, 0x04, 0xa1, 0x68, 0x76, 0x65, 0x6c, \
	0x6f, 0x63, 0x69, 0x74, 0x79, 0x82, 0xa1, 0x64, \
	0x24, 0x64, 0x69, 0x76, 0x19, 0x27, 0x10, 0xa1, \
	0x64, 0x24, 0x66, 0x70, 0x70, 0x04, 0xa1, 0x6e, \
	0x74, 0x6f, 0x74, 0x61, 0x6c, 0x5f, 0x70, 0x6f, \
	0x73, 0x69, 0x74, 0x69, 0x76, 0x65, 0x82, 0xa1, \
	0x64, 0x24, 0x64, 0x69, 0x76, 0x19, 0x03, 0xe8, \
	0xa1, 0x64, 0x24, 0x66, 0x70, 0x70, 0x03, 0xa1, \
	0x6e, 0x74, 0x6f, 0x74, 0x61, 0x6c, 0x5f, 0x6e, \
	0x65, 0x67, 0x61, 0x74, 0x69, 0x76, 0x65, 0x82, \
	0xa1, 0x64, 0x24, 0x64, 0x69, 0x76, 0x19, 0x03, \
	0xe8, 0xa1, 0x64, 0x24, 0x66, 0x70, 0x70, 0x03, \
	0xa1, 0x69, 0x74, 0x6f, 0x74, 0x61, 0x6c, 0x5f, \
	0x6e, 0x65, 0x74, 0x82, 0xa1, 0x64, 0x24, 0x64, \
	0x69, 0x76, 0x19, 0x03, 0xe8, 0xa1, 0x64, 0x24, \
	0x66, 0x70, 0x70, 0x03, 0xa1, 0x6a, 0x65, 0x6e, \
	0x65, 0x72, 0x67, 0x79, 0x5f, 0x68, 0x6f, 0x74, \
	0x82, 0xa1, 0x64, 0x24, 0x64, 0x69, 0x76, 0x19, \
	0x03, 0xe8, 0xa1, 0x64, 0x24, 0x66, 0x70, 0x70, \
	0x03, 0xa1, 0x6b, 0x65, 0x6e, 0x65, 0x72, 0x67, \
	0x79, 0x5f, 0x63, 0x6f, 0x6c, 0x64, 0x82, 0xa1, \
	0x64, 0x24, 0x64, 0x69, 0x76, 0x19, 0x03, 0xe8, \
	0xa1, 0x64, 0x24, 0x66, 0x70, 0x70, 0x03, 0xa1, \
	0x6a, 0x74, 0x65, 0x6d, 0x70, 0x5f, 0x69, 0x6e, \
	0x6c, 0x65, 0x74, 0x82, 0xa1, 0x64, 0x24, 0x64, \
	0x69, 0x76, 0x18, 0x64, 0xa1, 0x64, 0x24, 0x66, \
	0x70, 0x70, 0x02, 0xa1, 0x6b, 0x74, 0x65, 0x6d, \
	0x70, 0x5f, 0x6f, 0x75, 0x74, 0x6c, 0x65, 0x74, \
	0x82, 0xa1, 0x64, 0x24, 0x64, 0x69, 0x76, 0x18, \
	0x64, 0xa1, 0x64, 0x24, 0x66, 0x70, 0x70, 0x02, \
	0xa1, 0x6e, 0x73, 0x69, 0x67, 0x6e, 0x61, 0x6c, \
	0x5f, 0x71, 0x75, 0x61, 0x6c, 0x69, 0x74, 0x79, \
	0xf6, 0xa1, 0x6e, 0x70, 0x6f, 0x77, 0x65, 0x72, \
	0x5f, 0x61, 0x70, 0x70, 0x61, 0x72, 0x65, 0x6e, \
	0x74, 0xf6, 0xa1, 0x6e, 0x70, 0x6f, 0x77, 0x65, \
	0x72, 0x5f, 0x72, 0x65, 0x61, 0x63, 0x74, 0x69, \
	0x76, 0x65, 0xf6, 0xa1, 0x6c, 0x70, 0x6f, 0x77, \
	0x65, 0x72, 0x5f, 0x66, 0x61, 0x63, 0x74, 0x6f, \
	0x72, 0xf6, 0xa1, 0x6f, 0x70, 0x6f, 0x77, 0x65, \
	0x72, 0x5f, 0x66, 0x61, 0x63, 0x74, 0x6f, 0x72, \
	0x5f, 0x6c, 0x31, 0xf6, 0xa1, 0x6f, 0x70, 0x6f, \
	0x77, 0x65, 0x72, 0x5f, 0x66, 0x61, 0x63, 0x74, \
	0x6f, 0x72, 0x5f, 0x6c, 0x32, 0xf6, 0xa1, 0x6f, \
	0x70, 0x6f, 0x77, 0x65, 0x72, 0x5f, 0x66, 0x61, \
	0x63, 0x74, 0x6f, 0x72, 0x5f, 0x6c, 0x33, 0xf6, \
	0xa1, 0x73, 0x72, 0x61, 0x64, 0x6f, 0x6e, 0x5f, \
	0x63, 0x6f, 0x6e, 0x63, 0x65, 0x6e, 0x74, 0x72, \
	0x61, 0x74, 0x69, 0x6f, 0x6e, 0xf6, 0xa1, 0x77, \
	0x72, 0x61, 0x64, 0x6f, 0x6e, 0x5f, 0x63, 0x6f, \
	0x6e, 0x63, 0x65, 0x6e, 0x74, 0x72, 0x61, 0x74, \
	0x69, 0x6f, 0x6e, 0x5f, 0x64, 0x61, 0x79, 0xf6, \
	0xa1, 0x68, 0x68, 0x75, 0x6d, 0x69, 0x64, 0x69, \
	0x74, 0x79, 0xf6, 0xa1, 0x68, 0x62, 0x6c, 0x65, \
	0x5f, 0x74, 0x61, 0x67, 0x73, 0x85, 0xa1, 0x64, \
	0x61, 0x64, 0x64, 0x72, 0xf6, 0xa1, 0x64, 0x72, \
	0x73, 0x73, 0x69, 0xf6, 0xa1, 0x67, 0x76, 0x6f, \
	0x6c, 0x74, 0x61, 0x67, 0x65, 0x82, 0xa1, 0x64, \
	0x24, 0x64, 0x69, 0x76, 0x18, 0x64, 0xa1, 0x64, \
	0x24, 0x66, 0x70, 0x70, 0x02, 0xa1, 0x6b, 0x74, \
	0x65, 0x6d, 0x70, 0x65, 0x72, 0x61, 0x74, 0x75, \
	0x72, 0x65, 0x81, 0xa1, 0x6c, 0x6d, 0x65, 0x61, \
	0x73, 0x75, 0x72, 0x65, 0x6d, 0x65, 0x6e, 0x74, \
	0x73, 0x81, 0xa1, 0x64, 0x24, 0x74, 0x73, 0x70, \
	0x84, 0xa1, 0x63, 0x6d, 0x69, 0x6e, 0x82, 0xa1, \
	0x64, 0x24, 0x64, 0x69, 0x76, 0x18, 0x64, 0xa1, \
	0x64, 0x24, 0x66, 0x70, 0x70, 0x02, 0xa1, 0x63, \
	0x6d, 0x61, 0x78, 0x82, 0xa1, 0x64, 0x24, 0x64, \
	0x69, 0x76, 0x18, 0x64, 0xa1, 0x64, 0x24, 0x66, \
	0x70, 0x70, 0x02, 0xa1, 0x63, 0x61, 0x76, 0x67, \
	0x82, 0xa1, 0x64, 0x24, 0x64, 0x69, 0x76, 0x18, \
	0x64, 0xa1, 0x64, 0x24, 0x66, 0x70, 0x70, 0x02, \
	0xa1, 0x63, 0x6d, 0x64, 0x6e, 0x82, 0xa1, 0x64, \
	0x24, 0x64, 0x69, 0x76, 0x18, 0x64, 0xa1, 0x64, \
	0x24, 0x66, 0x70, 0x70, 0x02, 0xa1, 0x68, 0x68, \
	0x75, 0x6d, 0x69, 0x64, 0x69, 0x74, 0x79, 0x81, \
	0xa1, 0x6c, 0x6d, 0x65, 0x61, 0x73, 0x75, 0x72, \
	0x65, 0x6d, 0x65, 0x6e, 0x74, 0x73, 0x81, 0xa1, \
	0x64, 0x24, 0x74, 0x73, 0x70, 0x84, 0xa1, 0x63, \
	0x6d, 0x69, 0x6e, 0x82, 0xa1, 0x64, 0x24, 0x64, \
	0x69, 0x76, 0x18, 0x64, 0xa1, 0x64, 0x24, 0x66, \
	0x70, 0x70, 0x02, 0xa1, 0x63, 0x6d, 0x61, 0x78, \
	0x82, 0xa1, 0x64, 0x24, 0x64, 0x69, 0x76, 0x18, \
	0x64, 0xa1, 0x64, 0x24, 0x66, 0x70, 0x70, 0x02, \
	0xa1, 0x63, 0x61, 0x76, 0x67, 0x82, 0xa1, 0x64, \
	0x24, 0x64, 0x69, 0x76, 0x18, 0x64, 0xa1, 0x64, \
	0x24, 0x66, 0x70, 0x70, 0x02, 0xa1, 0x63, 0x6d, \
	0x64, 0x6e, 0x82, 0xa1, 0x64, 0x24, 0x64, 0x69, \
	0x76, 0x18, 0x64, 0xa1, 0x64, 0x24, 0x66, 0x70, \
	0x70, 0x02, \
}

#ifdef __cplusplus
}
#endif

#endif /* CODEC_H_ */
```

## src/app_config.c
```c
/*
 * Copyright (c) 2026 HARDWARIO a.s.
 *
 * SPDX-License-Identifier: LicenseRef-HARDWARIO-5-Clause
 */

#include "app_config.h"

/* CHESTER includes */
#include <chester/ctr_config.h>

/* Zephyr includes */
#include <zephyr/init.h>
#include <zephyr/kernel.h>
#include <zephyr/logging/log.h>
#include <zephyr/settings/settings.h>
#include <zephyr/shell/shell.h>

/* Standard includes */
#include <stdbool.h>
#include <stdio.h>
#include <stdlib.h>
#include <string.h>

/* ### Preserved code "includes" (begin) */
#include "feature.h"

#if defined(CONFIG_SHELL_BACKEND_DUMMY)
#include <zephyr/shell/shell_dummy.h>
#endif /* defined(CONFIG_SHELL_BACKEND_DUMMY) */

/* Forward declaration for device_parse_cb used in items[] */
static int device_parse_cb(const struct shell *shell, char *argv,
			   const struct ctr_config_item *item);
/* ^^^ Preserved code "includes" (end) */

LOG_MODULE_REGISTER(app_config, LOG_LEVEL_DBG);

#define SETTINGS_PFX "app-serial"

struct app_config g_app_config;

static struct app_config m_config_interim;

/* clang-format off */
const struct ctr_config_item items[] = {
	CTR_CONFIG_ITEM_INT("interval-sample", m_config_interim.interval_sample, 1, 86400, "Sample interval in seconds.", 60),
	CTR_CONFIG_ITEM_INT("interval-aggreg", m_config_interim.interval_aggreg, 1, 86400, "Aggregation interval in seconds.", 300),
	CTR_CONFIG_ITEM_INT("interval-report", m_config_interim.interval_report, 0, 86400, "Report interval in seconds.", 1800),
	CTR_CONFIG_ITEM_INT("interval-poll", m_config_interim.interval_poll, 0, 86400, "Polling interval in seconds (LTE only, 0 = disabled).", 0),
	CTR_CONFIG_ITEM_ENUM("serial-mode", m_config_interim.serial_mode, ((const char*[]){"transparent", "modbus", "uart"}), "Serial operation mode", 0),
	
	CTR_CONFIG_ITEM_INT("serial-baudrate", m_config_interim.serial_baudrate, 1200, 115200, "Serial baudrate.", 9600),
	CTR_CONFIG_ITEM_INT("serial-data-bits", m_config_interim.serial_data_bits, 7, 9, "Serial data bits.", 8),
	CTR_CONFIG_ITEM_ENUM("serial-parity", m_config_interim.serial_parity, ((const char*[]){"none", "odd", "even"}), "Serial parity", 0),
	
	CTR_CONFIG_ITEM_INT("serial-stop-bits", m_config_interim.serial_stop_bits, 1, 2, "Serial stop bits.", 1),

	CTR_CONFIG_ITEM_ENUM("mode", m_config_interim.mode, ((const char*[]){"none", "lte", "lrw"}), "Set communication mode", APP_CONFIG_MODE_NONE),

	/* ### Preserved code "config" (begin) */
	CTR_CONFIG_ITEM_INT("rppu-voltage-threshold", m_config_interim.rppu_voltage_threshold_mv,
		0, 5000,
		"RPP-U accumulator alert threshold in mV; uplink immediately on dropping to or below it (0 = off).",
		3400),

	/* Device configuration - type[,addr[,timeout]] */
	CTR_CONFIG_ITEM_STRING_PARSE_CB("device-0", m_config_interim.device_str[0],
		"Device 0: type[,addr[,timeout]]", "", device_parse_cb),
	CTR_CONFIG_ITEM_STRING_PARSE_CB("device-1", m_config_interim.device_str[1],
		"Device 1: type[,addr[,timeout]]", "", device_parse_cb),
	CTR_CONFIG_ITEM_STRING_PARSE_CB("device-2", m_config_interim.device_str[2],
		"Device 2: type[,addr[,timeout]]", "", device_parse_cb),
	CTR_CONFIG_ITEM_STRING_PARSE_CB("device-3", m_config_interim.device_str[3],
		"Device 3: type[,addr[,timeout]]", "", device_parse_cb),
	CTR_CONFIG_ITEM_STRING_PARSE_CB("device-4", m_config_interim.device_str[4],
		"Device 4: type[,addr[,timeout]]", "", device_parse_cb),
	CTR_CONFIG_ITEM_STRING_PARSE_CB("device-5", m_config_interim.device_str[5],
		"Device 5: type[,addr[,timeout]]", "", device_parse_cb),
	CTR_CONFIG_ITEM_STRING_PARSE_CB("device-6", m_config_interim.device_str[6],
		"Device 6: type[,addr[,timeout]]", "", device_parse_cb),
	CTR_CONFIG_ITEM_STRING_PARSE_CB("device-7", m_config_interim.device_str[7],
		"Device 7: type[,addr[,timeout]]", "", device_parse_cb),
	/* ^^^ Preserved code "config" (end) */

};
/* clang-format on */

/* ### Preserved code "function" (begin) */
/* Parse device config string: "type[,addr[,timeout]]" into struct */
static int parse_device_string(const char *input, struct app_config_device *dev)
{
	char buf[APP_CONFIG_DEVICE_STR_SIZE];
	char *token;
	char *saveptr;

	if (!dev) {
		return -EINVAL;
	}

	/* Default values */
	dev->type = APP_DEVICE_TYPE_NONE;
	dev->addr = 0;
	dev->timeout_s = 1;

	if (!input || !input[0]) {
		return 0;
	}

	strncpy(buf, input, sizeof(buf) - 1);
	buf[sizeof(buf) - 1] = '\0';

	/* Parse type (first parameter, required) */
	token = strtok_r(buf, ",", &saveptr);
	if (!token) {
		return 0;
	}

	enum app_device_type type = app_device_type_from_name(token);
	if (type == APP_DEVICE_TYPE_NONE && strcmp(token, "none") != 0) {
		return -EINVAL;
	}
	dev->type = type;

	/* Parse optional address */
	token = strtok_r(NULL, ",", &saveptr);
	if (token) {
		int addr = atoi(token);
		dev->addr = (addr > 0 && addr <= 247) ? addr : 0;

		/* Parse optional timeout */
		token = strtok_r(NULL, ",", &saveptr);
		if (token) {
			int timeout = atoi(token);
			dev->timeout_s = (timeout > 0) ? timeout : 1;
		}
	}

	return 0;
}

/* Device config parse callback - validates and stores string */
static int device_parse_cb(const struct shell *shell, char *argv,
			   const struct ctr_config_item *item)
{
	size_t len = strlen(argv);

	if (len >= item->size) {
		shell_error(shell, "Value too long (max %d)", item->size - 1);
		return -ENOMEM;
	}

	/* Empty string = none */
	if (len == 0) {
		memset(item->variable, 0, item->size);
		return 0;
	}

	/* Validate by attempting to parse */
	struct app_config_device test_dev;
	int ret = parse_device_string(argv, &test_dev);
	if (ret) {
		shell_error(shell, "Invalid format. Use: type[,addr[,timeout]]");
		shell_print(shell, "  Modbus types: generic, cubic_6303, em1xx, em5xx,");
		shell_print(shell, "         flowt_ft201, iem3000, lambrecht, or_we_504,");
		shell_print(shell, "         or_we_516, piketronic, sensecap_s1000,");
		shell_print(shell, "         sensecap_s500, sensecap_s700, solax_g3");
		shell_print(shell, "  UART types:   microsens_180hs, piketronic_u, promag_mf7s");
		shell_print(shell, "  none:  clears the slot");
		shell_print(shell, "  addr:  1-247 (required for Modbus mode)");
		shell_print(shell, "  timeout: seconds (default 1)");
		return ret;
	}

	strncpy(item->variable, argv, item->size - 1);
	((char *)item->variable)[item->size - 1] = '\0';

	return 0;
}

/* Validate device configuration before save */
static int validate_device_config(const struct shell *shell)
{
	/* Parse all device strings for validation */
	struct app_config_device devices[APP_CONFIG_MAX_DEVICES];
	int device_count = 0;

	for (int i = 0; i < APP_CONFIG_MAX_DEVICES; i++) {
		parse_device_string(m_config_interim.device_str[i], &devices[i]);
		if (devices[i].type != APP_DEVICE_TYPE_NONE) {
			device_count++;
		}
	}

#if defined(FEATURE_HARDWARE_CHESTER_X12_A)
	/* RS-232: only one device allowed (point-to-point) */
	if (device_count > 1) {
		shell_error(shell, "RS-232: max 1 device allowed (found %d)", device_count);
		return -EINVAL;
	}
#endif

	if (m_config_interim.serial_mode == APP_CONFIG_SERIAL_MODE_MODBUS) {
		for (int i = 0; i < APP_CONFIG_MAX_DEVICES; i++) {
			if (devices[i].type == APP_DEVICE_TYPE_NONE) {
				continue;
			}

			/* Wrong transport first: a UART device in Modbus mode would
			 * otherwise be told it "requires address", which sends the user
			 * off to invent an address for a device that has none.
			 */
			if (app_device_has_driver(devices[i].type) &&
			    app_device_get_transport(devices[i].type) ==
				    APP_DEVICE_TRANSPORT_UART) {
				shell_error(shell,
					    "Modbus mode: device-%d (%s) is a UART device - use "
					    "'serial-mode uart'",
					    i, app_device_type_name(devices[i].type));
				return -EINVAL;
			}

			if (devices[i].addr == 0) {
				shell_error(shell,
					    "Modbus mode: device-%d requires address (1-247)", i);
				return -EINVAL;
			}
		}
	}

	if (m_config_interim.serial_mode == APP_CONFIG_SERIAL_MODE_TRANSPARENT) {
		/* Transparent mode: only device-0 allowed */
		for (int i = 1; i < APP_CONFIG_MAX_DEVICES; i++) {
			if (devices[i].type != APP_DEVICE_TYPE_NONE) {
				shell_error(shell,
					    "Transparent mode: only device-0 allowed (device-%d "
					    "is set)",
					    i);
				return -EINVAL;
			}
		}

		/* A device whose driver speaks Modbus is brought up on Modbus whatever the
		 * mode says, which would silently turn off the raw `serial send` / `recv`
		 * this mode is for. Ask for the mode that matches instead.
		 */
		if (devices[0].type != APP_DEVICE_TYPE_NONE &&
		    app_device_has_driver(devices[0].type) &&
		    app_device_get_transport(devices[0].type) == APP_DEVICE_TRANSPORT_MODBUS) {
			shell_error(shell,
				    "Transparent mode: device-0 (%s) is a Modbus device - use "
				    "'serial-mode modbus'",
				    app_device_type_name(devices[0].type));
			return -EINVAL;
		}
	}

	if (m_config_interim.serial_mode == APP_CONFIG_SERIAL_MODE_UART) {
		/* UART mode: point-to-point - one TX, one RX, no addressing, so a
		 * single device on device-0. Multi-drop is what Modbus mode is for.
		 */
		for (int i = 1; i < APP_CONFIG_MAX_DEVICES; i++) {
			if (devices[i].type != APP_DEVICE_TYPE_NONE) {
				shell_error(shell,
					    "UART mode: only device-0 allowed (point-to-point) - "
					    "device-%d is set",
					    i);
				return -EINVAL;
			}
		}

		/* UART mode: the device must have a driver that actually speaks UART.
		 * Requiring the driver matters: the driverless legacy types (generic,
		 * lambrecht) are implemented inside app_modbus.c, so accepting one here
		 * would boot cleanly and then collect nothing forever.
		 */
		if (devices[0].type != APP_DEVICE_TYPE_NONE &&
		    (!app_device_has_driver(devices[0].type) ||
		     app_device_get_transport(devices[0].type) == APP_DEVICE_TRANSPORT_MODBUS)) {
			shell_error(shell,
				    "UART mode: device-0 (%s) is a Modbus device - use "
				    "'serial-mode modbus'",
				    app_device_type_name(devices[0].type));
			return -EINVAL;
		}
	}

	/* Driver instance limits and device memory */
	return app_device_check_config(shell, devices, m_config_interim.interval_sample,
				       m_config_interim.interval_aggreg,
				       m_config_interim.interval_report, m_config_interim.mode);
}
/* ^^^ Preserved code "function" (end) */

int app_config_cmd_config_show(const struct shell *shell, size_t argc, char **argv)
{
	/* ### Preserved code "app_config_cmd_config_show start" (begin) */
	/* ^^^ Preserved code "app_config_cmd_config_show start" (end) */

	for (int i = 0; i < ARRAY_SIZE(items); i++) {
		ctr_config_show_item(shell, &items[i]);
	}

	/* ### Preserved code "app_config_cmd_config_show end" (begin) */
	/* ^^^ Preserved code "app_config_cmd_config_show end" (end) */

	return 0;
}

int app_config_cmd_config(const struct shell *shell, size_t argc, char **argv)
{
	/* ### Preserved code "app_config_cmd_config" (begin) */
	/* ctr_config_cmd_config() has no "save" item: validate, then save all settings and
	 * reboot like the global config save
	 */
	if (argc == 2 && strcmp(argv[1], "save") == 0) {
		int ret = validate_device_config(shell);
		if (ret) {
			return ret;
		}

#if defined(CONFIG_SHELL_BACKEND_DUMMY)
		/* The cloud runs a configuration line by line on the dummy shell and saves it
		 * after its last line: only validate, do not reboot in the middle. The cloud
		 * shell uses the same backend; there config save saves.
		 */
		if (shell == shell_backend_dummy_get_ptr()) {
			shell_print(shell, "Configuration valid, not saved here: use config save");
			return 0;
		}
#endif /* defined(CONFIG_SHELL_BACKEND_DUMMY) */

		ret = ctr_config_save(true);
		if (ret) {
			LOG_ERR("Call `ctr_config_save` failed: %d", ret);
			shell_error(shell, "command failed");
			return ret;
		}

		return 0;
	}
	/* ^^^ Preserved code "app_config_cmd_config" (end) */
	return ctr_config_cmd_config(items, ARRAY_SIZE(items), shell, argc, argv);
}

static int h_set(const char *key, size_t len, settings_read_cb read_cb, void *cb_arg)
{
	/* ### Preserved code "h_set" (begin) */
	/* ^^^ Preserved code "h_set" (end) */

	return ctr_config_h_set(items, ARRAY_SIZE(items), key, len, read_cb, cb_arg);
}

static int h_commit(void)
{
	LOG_DBG("Loaded settings in full");

	/* ### Preserved code "h_commit" (begin) */
	/* Parse device strings into struct devices array */
	for (int i = 0; i < APP_CONFIG_MAX_DEVICES; i++) {
		parse_device_string(m_config_interim.device_str[i], &m_config_interim.devices[i]);
	}
	/* ^^^ Preserved code "h_commit" (end) */

	memcpy(&g_app_config, &m_config_interim, sizeof(g_app_config));
	return 0;
}

static int h_export(int (*export_func)(const char *name, const void *val, size_t val_len))
{
	/* ### Preserved code "h_export" (begin) */
	/* ^^^ Preserved code "h_export" (end) */

	return ctr_config_h_export(items, ARRAY_SIZE(items), export_func);
}

static int init(void)
{
	int ret;

	LOG_INF("System initialization");

	for (int i = 0; i < ARRAY_SIZE(items); i++) {
		ctr_config_init_item(&items[i]);
	}

	static struct settings_handler sh = {
		.name = SETTINGS_PFX,
		.h_set = h_set,
		.h_commit = h_commit,
		.h_export = h_export,
	};

	ret = settings_register(&sh);
	if (ret) {
		LOG_ERR("Call `settings_register` failed: %d", ret);
		return ret;
	}

	ret = settings_load_subtree(SETTINGS_PFX);
	if (ret) {
		LOG_ERR("Call `settings_load_subtree` failed: %d", ret);
		return ret;
	}

	/* ### Preserved code "init" (begin) */
	/* ^^^ Preserved code "init" (end) */

	ctr_config_append_show(SETTINGS_PFX, app_config_cmd_config_show);

	return 0;
}

SYS_INIT(init, APPLICATION, CONFIG_APPLICATION_INIT_PRIORITY);
```

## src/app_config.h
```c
/*
 * Copyright (c) 2026 HARDWARIO a.s.
 *
 * SPDX-License-Identifier: LicenseRef-HARDWARIO-5-Clause
 */

#ifndef APP_CONFIG_H_
#define APP_CONFIG_H_

/* Zephyr includes */
#include <zephyr/shell/shell.h>

/* Standard includes */
#include <stdbool.h>
#include <stddef.h>

/* ### Preserved code "includes" (begin) */
/* Device types - single enum definition */
#include "app_device.h"

/* Backward compatibility aliases for device types */
#define APP_CONFIG_DEVICE_TYPE_NONE            APP_DEVICE_TYPE_NONE
#define APP_CONFIG_DEVICE_TYPE_SENSECAP_S1000  APP_DEVICE_TYPE_SENSECAP_S1000
#define APP_CONFIG_DEVICE_TYPE_CUBIC_6303      APP_DEVICE_TYPE_CUBIC_6303
#define APP_CONFIG_DEVICE_TYPE_LAMBRECHT       APP_DEVICE_TYPE_LAMBRECHT
#define APP_CONFIG_DEVICE_TYPE_GENERIC         APP_DEVICE_TYPE_GENERIC
#define APP_CONFIG_DEVICE_TYPE_MICROSENS_180HS APP_DEVICE_TYPE_MICROSENS_180HS

#define APP_CONFIG_MAX_DEVICES     8
#define APP_CONFIG_DEVICE_STR_SIZE 32

struct app_config_device {
	enum app_device_type type; /* Device type */
	int addr;                  /* Modbus address (1-247), 0 = not set */
	int timeout_s;             /* Response timeout in seconds, default 1 */
};
/* ^^^ Preserved code "includes" (end) */

#ifdef __cplusplus
extern "C" {
#endif

enum app_config_mode {
	APP_CONFIG_MODE_NONE = 0,
	APP_CONFIG_MODE_LTE = 1,
	APP_CONFIG_MODE_LRW = 2,
};

/* Values are persisted in settings as the enum index - append only, never renumber. */
enum app_config_serial_mode {
	APP_CONFIG_SERIAL_MODE_TRANSPARENT = 0,
	APP_CONFIG_SERIAL_MODE_MODBUS = 1,
	APP_CONFIG_SERIAL_MODE_UART = 2,
};

enum app_config_serial_parity {
	APP_CONFIG_SERIAL_PARITY_NONE = 0,
	APP_CONFIG_SERIAL_PARITY_ODD = 1,
	APP_CONFIG_SERIAL_PARITY_EVEN = 2,
};

struct app_config {
	int interval_sample;
	int interval_aggreg;
	int interval_report;
	int interval_poll;
	enum app_config_serial_mode serial_mode;
	int serial_baudrate;
	int serial_data_bits;
	enum app_config_serial_parity serial_parity;
	int serial_stop_bits;

	enum app_config_mode mode;

	/* ### Preserved code "struct variables" (begin) */
	/* RPP-U accumulator alert threshold in mV; 0 disables. Kept here rather than in the
	 * generated block so the CHESTER generator cannot drop it. */
	int rppu_voltage_threshold_mv;

	/* Device config strings (stored in settings) */
	char device_str[APP_CONFIG_MAX_DEVICES][APP_CONFIG_DEVICE_STR_SIZE];

	/* Parsed device config (populated in h_commit) */
	struct app_config_device devices[APP_CONFIG_MAX_DEVICES];
	/* ^^^ Preserved code "struct variables" (end) */
};

extern struct app_config g_app_config;

int app_config_cmd_config_show(const struct shell *shell, size_t argc, char **argv);
int app_config_cmd_config_mode(const struct shell *shell, size_t argc, char **argv);

int app_config_cmd_config(const struct shell *shell, size_t argc, char **argv);

/* ### Preserved code "functions" (begin) */
/* ^^^ Preserved code "functions" (end) */

#ifdef __cplusplus
}
#endif

#endif /* APP_CONFIG_H_ */
```
